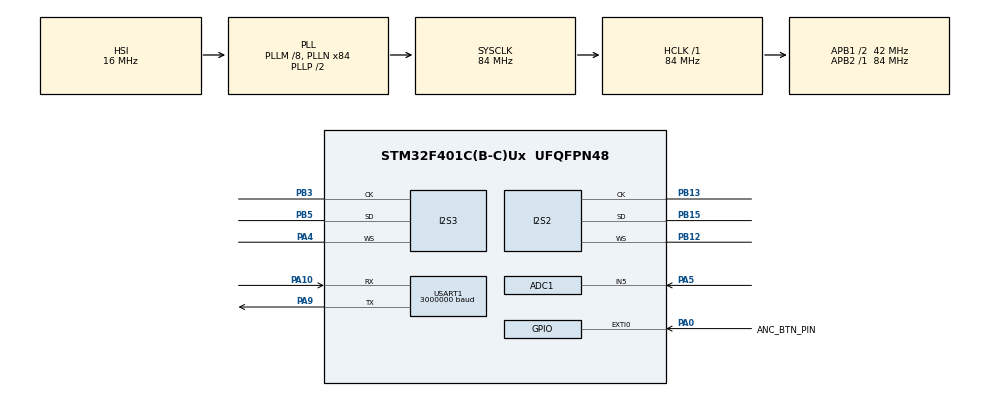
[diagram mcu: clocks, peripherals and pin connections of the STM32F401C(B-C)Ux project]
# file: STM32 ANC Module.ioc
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ADC1.Channel-0\#ChannelRegularConversion=ADC_CHANNEL_5
ADC1.NbrOfConversionFlag=1
ADC1.Rank-0\#ChannelRegularConversion=1
ADC1.SamplingTime-0\#ChannelRegularConversion=ADC_SAMPLETIME_3CYCLES
ADC1.master=1
Dma.Request0=USART1_RX
Dma.Request1=SPI2_RX
Dma.Request2=SPI3_TX
Dma.SPI2_RX.1.Direction=DMA_PERIPH_TO_MEMORY
Dma.SPI2_RX.1.FIFOMode=DMA_FIFOMODE_DISABLE
Dma.SPI2_RX.1.Instance=DMA1_Stream3
Dma.SPI2_RX.1.MemDataAlignment=DMA_MDATAALIGN_HALFWORD
Dma.SPI2_RX.1.MemInc=DMA_MINC_ENABLE
Dma.SPI2_RX.1.Mode=DMA_CIRCULAR
Dma.SPI2_RX.1.PeriphDataAlignment=DMA_PDATAALIGN_HALFWORD
Dma.SPI2_RX.1.PeriphInc=DMA_PINC_DISABLE
Dma.SPI2_RX.1.Priority=DMA_PRIORITY_HIGH
Dma.SPI3_TX.2.Direction=DMA_MEMORY_TO_PERIPH
Dma.SPI3_TX.2.FIFOMode=DMA_FIFOMODE_DISABLE
Dma.SPI3_TX.2.Instance=DMA1_Stream5
Dma.SPI3_TX.2.MemDataAlignment=DMA_MDATAALIGN_HALFWORD
Dma.SPI3_TX.2.MemInc=DMA_MINC_ENABLE
Dma.SPI3_TX.2.Mode=DMA_CIRCULAR
Dma.SPI3_TX.2.PeriphDataAlignment=DMA_PDATAALIGN_HALFWORD
Dma.SPI3_TX.2.PeriphInc=DMA_PINC_DISABLE
Dma.SPI3_TX.2.Priority=DMA_PRIORITY_VERY_HIGH
Dma.USART1_RX.0.Direction=DMA_PERIPH_TO_MEMORY
Dma.USART1_RX.0.FIFOMode=DMA_FIFOMODE_DISABLE
Dma.USART1_RX.0.Instance=DMA2_Stream2
Dma.USART1_RX.0.MemDataAlignment=DMA_MDATAALIGN_BYTE
Dma.USART1_RX.0.MemInc=DMA_MINC_ENABLE
Dma.USART1_RX.0.Mode=DMA_CIRCULAR
Dma.USART1_RX.0.PeriphDataAlignment=DMA_PDATAALIGN_BYTE
Dma.USART1_RX.0.PeriphInc=DMA_PINC_DISABLE
Dma.USART1_RX.0.Priority=DMA_PRIORITY_MEDIUM
I2S2.AudioFreq=I2S_AUDIOFREQ_44K
I2S2.DataFormat=I2S_DATAFORMAT_32B
I2S2.ErrorAudioFreq=0.26 %
I2S2.FullDuplexMode=I2S_FULLDUPLEXMODE_DISABLE
I2S2.Instance=SPI$Index
I2S2.Mode=I2S_MODE_MASTER_RX
I2S2.RealAudioFreq=44.117 KHz
I2S2.VirtualMode=I2S_MODE_MASTER
I2S3.AudioFreq=I2S_AUDIOFREQ_44K
I2S3.ErrorAudioFreq=0.26 %
I2S3.FullDuplexMode=I2S_FULLDUPLEXMODE_DISABLE
I2S3.Instance=SPI$Index
I2S3.RealAudioFreq=44.117 KHz
I2S3.VirtualMode=I2S_MODE_MASTER
Mcu.Family=STM32F4
Mcu.Name=STM32F401C(B-C)Ux
Mcu.Package=UFQFPN48
NVIC.DMA1_Stream3_IRQn=true\:1\:0\:true\:false\:true\:false\:true\:true
NVIC.DMA1_Stream5_IRQn=true\:0\:0\:false\:false\:true\:false\:true\:true
NVIC.DMA2_Stream2_IRQn=true\:1\:0\:true\:false\:true\:false\:true\:true
NVIC.EXTI0_IRQn=true\:2\:0\:true\:false\:true\:true\:true\:true
NVIC.PriorityGroup=NVIC_PRIORITYGROUP_4
NVIC.SPI3_IRQn=true\:1\:0\:true\:false\:true\:true\:true\:true
PA0-WKUP.GPIO_Label=ANC_BTN_PIN
PA0-WKUP.GPIO_ModeDefaultEXTI=GPIO_MODE_IT_FALLING
PA0-WKUP.GPIO_PuPd=GPIO_PULLUP
PA0-WKUP.Signal=GPXTI0
PA10.Mode=Asynchronous
PA10.Signal=USART1_RX
PA13.Mode=Serial_Wire
PA13.Signal=SYS_JTMS-SWDIO
PA14.Mode=Serial_Wire
PA14.Signal=SYS_JTCK-SWCLK
PA4.Mode=Half_Duplex_Master
PA4.Signal=I2S3_WS
PA5.Signal=ADCx_IN5
PA9.Mode=Asynchronous
PA9.Signal=USART1_TX
PB12.Mode=Half_Duplex_Master
PB12.Signal=I2S2_WS
PB13.Mode=Half_Duplex_Master
PB13.Signal=I2S2_CK
PB15.Mode=Half_Duplex_Master
PB15.Signal=I2S2_SD
PB3.Mode=Half_Duplex_Master
PB3.Signal=I2S3_CK
PB5.Mode=Half_Duplex_Master
PB5.Signal=I2S3_SD
ProjectManager.HeapSize=0x200
ProjectManager.StackSize=0x400
ProjectManager.TargetToolchain=STM32CubeIDE
RCC.48MHZClocksFreq_Value=42000000
RCC.AHBFreq_Value=84000000
RCC.APB1CLKDivider=RCC_HCLK_DIV2
RCC.APB1Freq_Value=42000000
RCC.APB1TimFreq_Value=84000000
RCC.APB2Freq_Value=84000000
RCC.APB2TimFreq_Value=84000000
RCC.CortexFreq_Value=84000000
RCC.HCLKFreq_Value=84000000
RCC.HSE_VALUE=25000000
RCC.HSI_VALUE=16000000
RCC.LSE_VALUE=32768
RCC.PLLM=8
RCC.PLLN=84
RCC.SYSCLKFreq_VALUE=84000000
RCC.SYSCLKSource=RCC_SYSCLKSOURCE_PLLCLK
RCC.VCOOutputFreq_Value=168000000
SH.ADCx_IN5.0=ADC1_IN5,IN5
USART1.BaudRate=3000000
USART1.Mode=MODE_RX
USART1.VirtualMode=VM_ASYNC
board=custom

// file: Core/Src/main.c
/* USER CODE BEGIN Header */
/**
  ******************************************************************************
  * @file           : main.c
  * @brief          : Main program body
  ******************************************************************************
  * @attention
  *
  * Copyright (c) 2026 STMicroelectronics.
  * All rights reserved.
  *
  * This software is licensed under terms that can be found in the LICENSE file
  * in the root directory of this software component.
  * If no LICENSE file comes with this software, it is provided AS-IS.
  *
  ******************************************************************************
  */
/* USER CODE END Header */
#include "main.h"
#include "adc.h"
#include "dma.h"
#include "i2s.h"
#include "usart.h"
#include "gpio.h"

/* USER CODE BEGIN Includes */
#include "audio_pipeline.h"
#include "buffer_manager.h"
#include "pin_config.h"
#include "uart_parser.h"
/* USER CODE END Includes */

void SystemClock_Config(void);
void PeriphCommonClock_Config(void);

int main(void)
{

  /* MCU Configuration--------------------------------------------------------*/

  /* Reset of all peripherals, Initializes the Flash interface and the Systick. */
  HAL_Init();

  /* Configure the system clock */
  SystemClock_Config();

  /* Configure the peripherals common clocks */
  PeriphCommonClock_Config();

  /* Initialize all configured peripherals */
  MX_GPIO_Init();
  MX_DMA_Init();
  MX_USART1_UART_Init();
  MX_I2S2_Init();
  MX_I2S3_Init();
  MX_ADC1_Init();
  /* USER CODE BEGIN 2 */
  GPIO_InitTypeDef GPIO_InitStruct = {0};
  __HAL_RCC_GPIOA_CLK_ENABLE();

  GPIO_InitStruct.Pin = ANC_BTN_PIN;
  GPIO_InitStruct.Mode = GPIO_MODE_IT_FALLING;
  GPIO_InitStruct.Pull = GPIO_PULLUP;
  HAL_GPIO_Init(ANC_BTN_PORT, &GPIO_InitStruct);

  HAL_NVIC_SetPriority(ANC_BTN_IRQn, 2, 0);
  HAL_NVIC_EnableIRQ(ANC_BTN_IRQn);

  AudioPipeline_Init();
  AudioPipeline_Start();
  /* USER CODE END 2 */

  /* Infinite loop */
  while (1)
  {

    /* USER CODE BEGIN 3 */
    UartParser_Process();
    BufferManager_Process();
  }
  /* USER CODE END 3 */
}

void SystemClock_Config(void)
{
  RCC_OscInitTypeDef RCC_OscInitStruct = {0};
  RCC_ClkInitTypeDef RCC_ClkInitStruct = {0};

  /** Configure the main internal regulator output voltage
  */
  __HAL_RCC_PWR_CLK_ENABLE();
  __HAL_PWR_VOLTAGESCALING_CONFIG(PWR_REGULATOR_VOLTAGE_SCALE2);

  /** Initializes the RCC Oscillators according to the specified parameters
  * in the RCC_OscInitTypeDef structure.
  */
  RCC_OscInitStruct.OscillatorType = RCC_OSCILLATORTYPE_HSI;
  RCC_OscInitStruct.HSIState = RCC_HSI_ON;
  RCC_OscInitStruct.HSICalibrationValue = RCC_HSICALIBRATION_DEFAULT;
  RCC_OscInitStruct.PLL.PLLState = RCC_PLL_ON;
  RCC_OscInitStruct.PLL.PLLSource = RCC_PLLSOURCE_HSI;
  RCC_OscInitStruct.PLL.PLLM = 8;
  RCC_OscInitStruct.PLL.PLLN = 84;
  RCC_OscInitStruct.PLL.PLLP = RCC_PLLP_DIV2;
  RCC_OscInitStruct.PLL.PLLQ = 4;
  if (HAL_RCC_OscConfig(&RCC_OscInitStruct) != HAL_OK)
  {
    Error_Handler();
  }

  /** Initializes the CPU, AHB and APB buses clocks
  */
  RCC_ClkInitStruct.ClockType = RCC_CLOCKTYPE_HCLK|RCC_CLOCKTYPE_SYSCLK
                              |RCC_CLOCKTYPE_PCLK1|RCC_CLOCKTYPE_PCLK2;
  RCC_ClkInitStruct.SYSCLKSource = RCC_SYSCLKSOURCE_PLLCLK;
  RCC_ClkInitStruct.AHBCLKDivider = RCC_SYSCLK_DIV1;
  RCC_ClkInitStruct.APB1CLKDivider = RCC_HCLK_DIV2;
  RCC_ClkInitStruct.APB2CLKDivider = RCC_HCLK_DIV1;

  if (HAL_RCC_ClockConfig(&RCC_ClkInitStruct, FLASH_LATENCY_2) != HAL_OK)
  {
    Error_Handler();
  }
}

void PeriphCommonClock_Config(void)
{
  RCC_PeriphCLKInitTypeDef PeriphClkInitStruct = {0};

  /** Initializes the peripherals clock
  */
  PeriphClkInitStruct.PeriphClockSelection = RCC_PERIPHCLK_I2S;
  PeriphClkInitStruct.PLLI2S.PLLI2SN = 192;
  PeriphClkInitStruct.PLLI2S.PLLI2SR = 2;
  if (HAL_RCCEx_PeriphCLKConfig(&PeriphClkInitStruct) != HAL_OK)
  {
    Error_Handler();
  }
}

/* USER CODE BEGIN 4 */

void HAL_GPIO_EXTI_Callback(uint16_t GPIO_Pin)
{
    if (GPIO_Pin == ANC_BTN_PIN)
    {
        is_anc_on = !is_anc_on;
    }
}
/* USER CODE END 4 */

void Error_Handler(void)
{
  __disable_irq();
  while (1)
  {
  }
}
